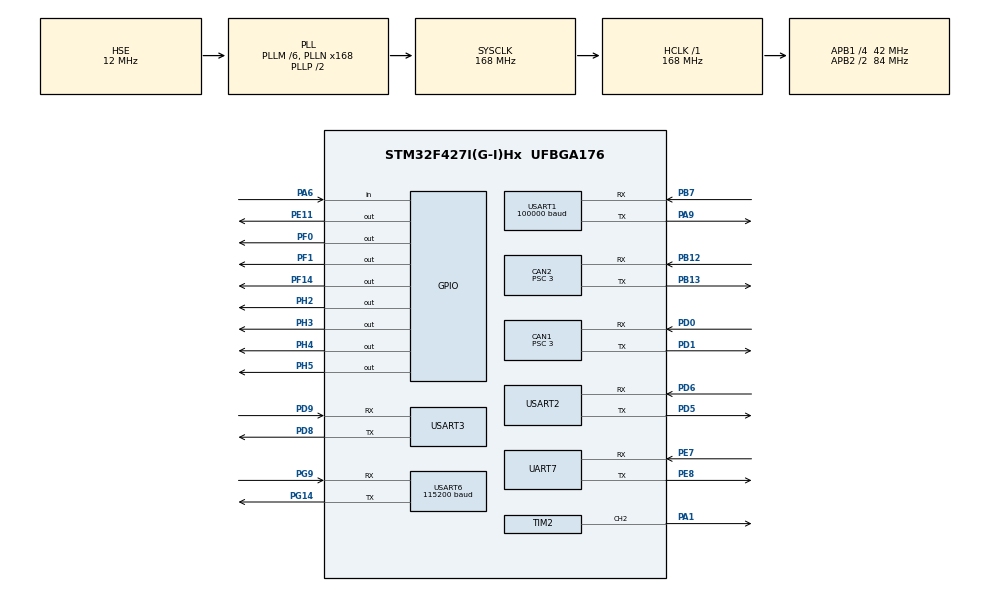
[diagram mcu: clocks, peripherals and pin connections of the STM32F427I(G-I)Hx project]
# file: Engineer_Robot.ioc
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CAN1.BS1=CAN_BS1_9TQ
CAN1.BS2=CAN_BS2_5TQ
CAN1.CalculateBaudRate=933333
CAN1.CalculateTimeBit=1071
CAN1.CalculateTimeQuantum=71.42857142857143
CAN1.Prescaler=3
CAN2.BS1=CAN_BS1_12TQ
CAN2.BS2=CAN_BS2_2TQ
CAN2.CalculateBaudRate=933333
CAN2.CalculateTimeBit=1071
CAN2.CalculateTimeQuantum=71.42857142857143
CAN2.Prescaler=3
Dma.Request0=USART6_TX
Dma.Request1=USART6_RX
Dma.Request2=USART1_RX
Dma.Request3=USART2_TX
Dma.Request4=USART3_TX
Dma.Request5=USART3_RX
Dma.USART1_RX.2.Direction=DMA_PERIPH_TO_MEMORY
Dma.USART1_RX.2.FIFOMode=DMA_FIFOMODE_DISABLE
Dma.USART1_RX.2.Instance=DMA2_Stream2
Dma.USART1_RX.2.MemDataAlignment=DMA_MDATAALIGN_BYTE
Dma.USART1_RX.2.MemInc=DMA_MINC_ENABLE
Dma.USART1_RX.2.Mode=DMA_CIRCULAR
Dma.USART1_RX.2.PeriphDataAlignment=DMA_PDATAALIGN_BYTE
Dma.USART1_RX.2.PeriphInc=DMA_PINC_DISABLE
Dma.USART1_RX.2.Priority=DMA_PRIORITY_VERY_HIGH
Dma.USART2_TX.3.Direction=DMA_MEMORY_TO_PERIPH
Dma.USART2_TX.3.FIFOMode=DMA_FIFOMODE_DISABLE
Dma.USART2_TX.3.Instance=DMA1_Stream6
Dma.USART2_TX.3.MemDataAlignment=DMA_MDATAALIGN_BYTE
Dma.USART2_TX.3.MemInc=DMA_MINC_ENABLE
Dma.USART2_TX.3.Mode=DMA_NORMAL
Dma.USART2_TX.3.PeriphDataAlignment=DMA_PDATAALIGN_BYTE
Dma.USART2_TX.3.PeriphInc=DMA_PINC_DISABLE
Dma.USART2_TX.3.Priority=DMA_PRIORITY_VERY_HIGH
Dma.USART3_RX.5.Direction=DMA_PERIPH_TO_MEMORY
Dma.USART3_RX.5.FIFOMode=DMA_FIFOMODE_DISABLE
Dma.USART3_RX.5.Instance=DMA1_Stream1
Dma.USART3_RX.5.MemDataAlignment=DMA_MDATAALIGN_BYTE
Dma.USART3_RX.5.MemInc=DMA_MINC_ENABLE
Dma.USART3_RX.5.Mode=DMA_NORMAL
Dma.USART3_RX.5.PeriphDataAlignment=DMA_PDATAALIGN_BYTE
Dma.USART3_RX.5.PeriphInc=DMA_PINC_DISABLE
Dma.USART3_RX.5.Priority=DMA_PRIORITY_VERY_HIGH
Dma.USART3_TX.4.Direction=DMA_MEMORY_TO_PERIPH
Dma.USART3_TX.4.FIFOMode=DMA_FIFOMODE_DISABLE
Dma.USART3_TX.4.Instance=DMA1_Stream3
Dma.USART3_TX.4.MemDataAlignment=DMA_MDATAALIGN_BYTE
Dma.USART3_TX.4.MemInc=DMA_MINC_ENABLE
Dma.USART3_TX.4.Mode=DMA_NORMAL
Dma.USART3_TX.4.PeriphDataAlignment=DMA_PDATAALIGN_BYTE
Dma.USART3_TX.4.PeriphInc=DMA_PINC_DISABLE
Dma.USART3_TX.4.Priority=DMA_PRIORITY_VERY_HIGH
Dma.USART6_RX.1.Direction=DMA_PERIPH_TO_MEMORY
Dma.USART6_RX.1.FIFOMode=DMA_FIFOMODE_DISABLE
Dma.USART6_RX.1.Instance=DMA2_Stream1
Dma.USART6_RX.1.MemDataAlignment=DMA_MDATAALIGN_BYTE
Dma.USART6_RX.1.MemInc=DMA_MINC_ENABLE
Dma.USART6_RX.1.Mode=DMA_NORMAL
Dma.USART6_RX.1.PeriphDataAlignment=DMA_PDATAALIGN_BYTE
Dma.USART6_RX.1.PeriphInc=DMA_PINC_DISABLE
Dma.USART6_RX.1.Priority=DMA_PRIORITY_LOW
Dma.USART6_TX.0.Direction=DMA_MEMORY_TO_PERIPH
Dma.USART6_TX.0.FIFOMode=DMA_FIFOMODE_DISABLE
Dma.USART6_TX.0.Instance=DMA2_Stream6
Dma.USART6_TX.0.MemDataAlignment=DMA_MDATAALIGN_BYTE
Dma.USART6_TX.0.MemInc=DMA_MINC_ENABLE
Dma.USART6_TX.0.Mode=DMA_NORMAL
Dma.USART6_TX.0.PeriphDataAlignment=DMA_PDATAALIGN_BYTE
Dma.USART6_TX.0.PeriphInc=DMA_PINC_DISABLE
Dma.USART6_TX.0.Priority=DMA_PRIORITY_LOW
FREERTOS.Tasks01=defaultTask,0,128,StartDefaultTask,Default,NULL,Dynamic,NULL,NULL
Mcu.Family=STM32F4
Mcu.Name=STM32F427I(G-I)Hx
Mcu.Package=UFBGA176
NVIC.CAN1_RX0_IRQn=true\:5\:0\:false\:false\:true\:true\:true\:true\:true
NVIC.CAN1_TX_IRQn=true\:5\:0\:false\:false\:true\:true\:true\:true\:true
NVIC.CAN2_RX0_IRQn=true\:5\:0\:false\:false\:true\:true\:true\:true\:true
NVIC.CAN2_TX_IRQn=true\:5\:0\:false\:false\:true\:true\:true\:true\:true
NVIC.DMA1_Stream1_IRQn=true\:5\:0\:false\:false\:true\:true\:false\:true\:true
NVIC.DMA1_Stream3_IRQn=true\:5\:0\:false\:false\:true\:true\:false\:true\:true
NVIC.DMA1_Stream6_IRQn=true\:5\:0\:false\:false\:true\:true\:false\:true\:true
NVIC.DMA2_Stream1_IRQn=true\:5\:0\:false\:false\:true\:true\:false\:true\:true
NVIC.DMA2_Stream2_IRQn=true\:5\:0\:false\:false\:true\:true\:false\:true\:true
NVIC.DMA2_Stream6_IRQn=true\:5\:0\:false\:false\:true\:true\:false\:true\:true
NVIC.PriorityGroup=NVIC_PRIORITYGROUP_4
NVIC.UART7_IRQn=true\:5\:0\:false\:false\:true\:true\:true\:true\:true
NVIC.USART1_IRQn=true\:5\:0\:false\:false\:true\:true\:true\:true\:true
NVIC.USART2_IRQn=true\:5\:0\:false\:false\:true\:true\:true\:true\:true
NVIC.USART3_IRQn=true\:5\:0\:false\:false\:true\:true\:true\:true\:true
NVIC.USART6_IRQn=true\:5\:0\:false\:false\:true\:true\:true\:true\:true
PA1.Signal=S_TIM2_CH2
PA13.Mode=Serial_Wire
PA13.Signal=SYS_JTMS-SWDIO
PA14.Mode=Serial_Wire
PA14.Signal=SYS_JTCK-SWCLK
PA6.GPIO_PuPd=GPIO_PULLUP
PA6.Signal=GPIO_Input
PA9.Mode=Asynchronous
PA9.Signal=USART1_TX
PB12.Mode=CAN_Activate
PB12.Signal=CAN2_RX
PB13.Mode=CAN_Activate
PB13.Signal=CAN2_TX
PB7.Mode=Asynchronous
PB7.Signal=USART1_RX
PD0.Mode=CAN_Activate
PD0.Signal=CAN1_RX
PD1.Mode=CAN_Activate
PD1.Signal=CAN1_TX
PD5.Mode=Asynchronous
PD5.Signal=USART2_TX
PD6.Mode=Asynchronous
PD6.Signal=USART2_RX
PD8.Mode=Asynchronous
PD8.Signal=USART3_TX
PD9.Mode=Asynchronous
PD9.Signal=USART3_RX
PE11.Signal=GPIO_Output
PE7.Mode=Asynchronous
PE7.Signal=UART7_RX
PE8.Mode=Asynchronous
PE8.Signal=UART7_TX
PF0.Signal=GPIO_Output
PF1.Signal=GPIO_Output
PF14.Signal=GPIO_Output
PG14.Mode=Asynchronous
PG14.Signal=USART6_TX
PG9.Mode=Asynchronous
PG9.Signal=USART6_RX
PH0/OSC_IN.Mode=HSE-External-Oscillator
PH0/OSC_IN.Signal=RCC_OSC_IN
PH1/OSC_OUT.Mode=HSE-External-Oscillator
PH1/OSC_OUT.Signal=RCC_OSC_OUT
PH2.Signal=GPIO_Output
PH3.Signal=GPIO_Output
PH4.Signal=GPIO_Output
PH5.Signal=GPIO_Output
ProjectManager.HeapSize=0x200
ProjectManager.StackSize=0x400
ProjectManager.TargetToolchain=MDK-ARM V5.32
RCC.48MHZClocksFreq_Value=84000000
RCC.AHBFreq_Value=168000000
RCC.APB1CLKDivider=RCC_HCLK_DIV4
RCC.APB1Freq_Value=42000000
RCC.APB1TimFreq_Value=84000000
RCC.APB2CLKDivider=RCC_HCLK_DIV2
RCC.APB2Freq_Value=84000000
RCC.APB2TimFreq_Value=168000000
RCC.CortexFreq_Value=168000000
RCC.HCLKFreq_Value=168000000
RCC.HSE_VALUE=12000000
RCC.HSI_VALUE=16000000
RCC.LSE_VALUE=32768
RCC.PLLM=6
RCC.PLLN=168
RCC.PLLSourceVirtual=RCC_PLLSOURCE_HSE
RCC.SYSCLKFreq_VALUE=168000000
RCC.SYSCLKSource=RCC_SYSCLKSOURCE_PLLCLK
RCC.VCOOutputFreq_Value=336000000
SH.S_TIM2_CH2.0=TIM2_CH2,PWM Generation2 CH2
TIM2.Channel-PWM\ Generation2\ CH2=TIM_CHANNEL_2
TIM2.Period=9999
TIM2.Prescaler=167
UART7.VirtualMode=Asynchronous
USART1.BaudRate=100000
USART1.Parity=PARITY_EVEN
USART1.StopBits=STOPBITS_2
USART1.VirtualMode=VM_ASYNC
USART2.VirtualMode=VM_ASYNC
USART3.VirtualMode=VM_ASYNC
USART6.BaudRate=115200
USART6.VirtualMode=VM_ASYNC
VP_FREERTOS_VS_CMSIS_V1.Mode=CMSIS_V1
VP_TIM2_VS_ClockSourceINT.Mode=Internal
board=custom

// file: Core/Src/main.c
/* USER CODE BEGIN Header */
/**
  ******************************************************************************
  * @file           : main.c
  * @brief          : Main program body
  ******************************************************************************
  * @attention
  *
  * Copyright (c) 2024 STMicroelectronics.
  * All rights reserved.
  *
  * This software is licensed under terms that can be found in the LICENSE file
  * in the root directory of this software component.
  * If no LICENSE file comes with this software, it is provided AS-IS.
  *
  ******************************************************************************
  */
/* USER CODE END Header */
#include "main.h"
#include "cmsis_os.h"
#include "can.h"
#include "dma.h"
#include "tim.h"
#include "usart.h"
#include "gpio.h"

/* USER CODE BEGIN Includes */
#include "bsp_m15_motor.h"
#include "remote_control.h"
#include "bsp_usart.h"
#include <stdio.h>
#include <stdarg.h>
#include "string.h"
#include "bsp_can.h"
#include "can_receive.h"
#include "unitree_A1.h"
#include "math.h"

/* USER CODE END Includes */

void SystemClock_Config(void);
void MX_FREERTOS_Init(void);

/* USER CODE BEGIN 0 */
const RC_ctrl_t *local_rc_ctrl;

/* USER CODE END 0 */

int main(void)
{

  /* MCU Configuration--------------------------------------------------------*/

  /* Reset of all peripherals, Initializes the Flash interface and the Systick. */
  HAL_Init();

  /* Configure the system clock */
  SystemClock_Config();

  /* Initialize all configured peripherals */
  MX_GPIO_Init();
  MX_DMA_Init();
  MX_USART1_UART_Init();
  MX_USART6_UART_Init();
  MX_CAN1_Init();
  MX_CAN2_Init();
  MX_USART2_UART_Init();
  MX_UART7_Init();
  MX_USART3_UART_Init();
  MX_TIM2_Init();
  /* USER CODE BEGIN 2 */
    can_filter_init();
    //BSP_M15_Init();
		remote_control_init();

		local_rc_ctrl = get_remote_control_point();

  /* USER CODE END 2 */

  /* Call init function for freertos objects (in cmsis_os2.c) */
  MX_FREERTOS_Init();

  /* Start scheduler */
  osKernelStart();

  /* We should never get here as control is now taken by the scheduler */

  /* Infinite loop */
  while (1)
  {

  }
}

void SystemClock_Config(void)
{
  RCC_OscInitTypeDef RCC_OscInitStruct = {0};
  RCC_ClkInitTypeDef RCC_ClkInitStruct = {0};

  /** Configure the main internal regulator output voltage
  */
  __HAL_RCC_PWR_CLK_ENABLE();
  __HAL_PWR_VOLTAGESCALING_CONFIG(PWR_REGULATOR_VOLTAGE_SCALE1);

  /** Initializes the RCC Oscillators according to the specified parameters
  * in the RCC_OscInitTypeDef structure.
  */
  RCC_OscInitStruct.OscillatorType = RCC_OSCILLATORTYPE_HSE;
  RCC_OscInitStruct.HSEState = RCC_HSE_ON;
  RCC_OscInitStruct.PLL.PLLState = RCC_PLL_ON;
  RCC_OscInitStruct.PLL.PLLSource = RCC_PLLSOURCE_HSE;
  RCC_OscInitStruct.PLL.PLLM = 6;
  RCC_OscInitStruct.PLL.PLLN = 168;
  RCC_OscInitStruct.PLL.PLLP = RCC_PLLP_DIV2;
  RCC_OscInitStruct.PLL.PLLQ = 4;
  if (HAL_RCC_OscConfig(&RCC_OscInitStruct) != HAL_OK)
  {
    Error_Handler();
  }

  /** Initializes the CPU, AHB and APB buses clocks
  */
  RCC_ClkInitStruct.ClockType = RCC_CLOCKTYPE_HCLK|RCC_CLOCKTYPE_SYSCLK
                              |RCC_CLOCKTYPE_PCLK1|RCC_CLOCKTYPE_PCLK2;
  RCC_ClkInitStruct.SYSCLKSource = RCC_SYSCLKSOURCE_PLLCLK;
  RCC_ClkInitStruct.AHBCLKDivider = RCC_SYSCLK_DIV1;
  RCC_ClkInitStruct.APB1CLKDivider = RCC_HCLK_DIV4;
  RCC_ClkInitStruct.APB2CLKDivider = RCC_HCLK_DIV2;

  if (HAL_RCC_ClockConfig(&RCC_ClkInitStruct, FLASH_LATENCY_5) != HAL_OK)
  {
    Error_Handler();
  }
}

void Error_Handler(void)
{
  __disable_irq();
  while (1)
  {
  }
}

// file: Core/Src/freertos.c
/* USER CODE BEGIN Header */
/**
  ******************************************************************************
  * File Name          : freertos.c
  * Description        : Code for freertos applications
  ******************************************************************************
  * @attention
  *
  * Copyright (c) 2025 STMicroelectronics.
  * All rights reserved.
  *
  * This software is licensed under terms that can be found in the LICENSE file
  * in the root directory of this software component.
  * If no LICENSE file comes with this software, it is provided AS-IS.
  *
  ******************************************************************************
  */
/* USER CODE END Header */

#include "FreeRTOS.h"
#include "task.h"
#include "main.h"
#include "cmsis_os.h"

/* USER CODE BEGIN Includes */
#include "chassis_task.h"
#include "gimbal_task.h"
#include "Vacuum_suction_task.h"
#include "judge_task.h"
/* USER CODE END Includes */

/* USER CODE BEGIN PTD */
osThreadId chassisTaskHandle;
osThreadId gimbalTaskHandle;
osThreadId suctionTaskHandle;
osThreadId judgeTaskHandle;
/* USER CODE END PTD */

osThreadId defaultTaskHandle;

void StartDefaultTask(void const * argument);

void MX_FREERTOS_Init(void); /* (MISRA C 2004 rule 8.1) */

/* GetIdleTaskMemory prototype (linked to static allocation support) */
void vApplicationGetIdleTaskMemory( StaticTask_t **ppxIdleTaskTCBBuffer, StackType_t **ppxIdleTaskStackBuffer, uint32_t *pulIdleTaskStackSize );

/* USER CODE BEGIN GET_IDLE_TASK_MEMORY */
static StaticTask_t xIdleTaskTCBBuffer;
static StackType_t xIdleStack[configMINIMAL_STACK_SIZE];

void vApplicationGetIdleTaskMemory( StaticTask_t **ppxIdleTaskTCBBuffer, StackType_t **ppxIdleTaskStackBuffer, uint32_t *pulIdleTaskStackSize )
{
  *ppxIdleTaskTCBBuffer = &xIdleTaskTCBBuffer;
  *ppxIdleTaskStackBuffer = &xIdleStack[0];
  *pulIdleTaskStackSize = configMINIMAL_STACK_SIZE;
  /* place for user code */
}
/* USER CODE END GET_IDLE_TASK_MEMORY */

void MX_FREERTOS_Init(void) {

  /* Create the thread(s) */
  /* definition and creation of defaultTask */
  osThreadDef(defaultTask, StartDefaultTask, osPriorityNormal, 0, 128);
  defaultTaskHandle = osThreadCreate(osThread(defaultTask), NULL);

  /* USER CODE BEGIN RTOS_THREADS */

	  osThreadDef(ChassisTask, chassis_task, osPriorityAboveNormal, 0, 512);
    chassisTaskHandle = osThreadCreate(osThread(ChassisTask), NULL);

		osThreadDef(gimbalTask, gimbal_task, osPriorityAboveNormal, 0, 512);
    gimbalTaskHandle = osThreadCreate(osThread(gimbalTask), NULL);

		osThreadDef(suctionTask, Vacuum_task, osPriorityAboveNormal, 0, 128);
    suctionTaskHandle = osThreadCreate(osThread(suctionTask), NULL);

		osThreadDef(judgeTask, judge_task, osPriorityAboveNormal, 0, 128);
    judgeTaskHandle = osThreadCreate(osThread(judgeTask), NULL);

  /* add threads, ... */
  /* USER CODE END RTOS_THREADS */

}

void StartDefaultTask(void const * argument)
{
  for(;;)
  {
    osDelay(1);
  }
}
